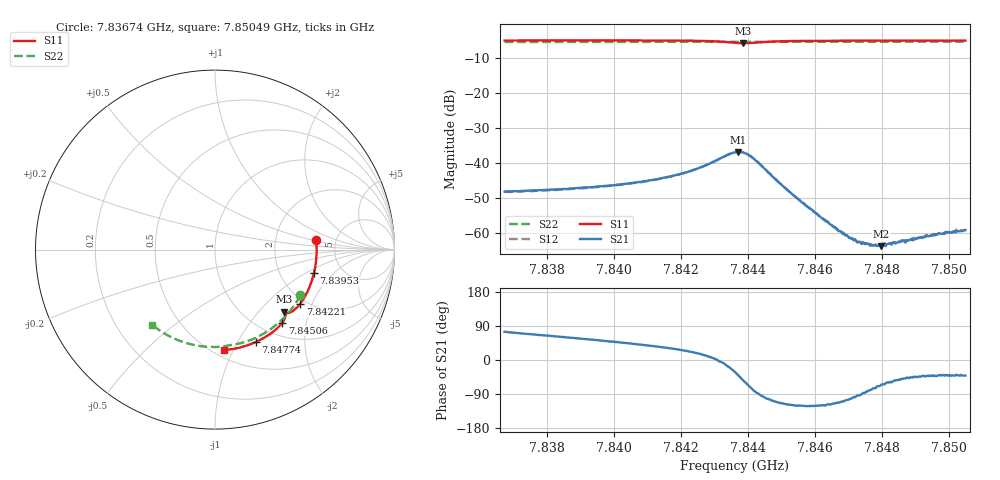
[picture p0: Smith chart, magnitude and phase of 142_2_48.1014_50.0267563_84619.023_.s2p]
#  HZ  S  RI  R  50.00
! Rohde & Schwarz Vector Network Analyzer
! Rohde-Schwarz,ZNB20-2Port,1311601062101988,3.16
! Created: UTC 12/23/2023, 3:48:51 AM
! freq[Hz]  re:S11  im:S11  re:S21  im:S21  re:S12  im:S12  re:S22  im:S22
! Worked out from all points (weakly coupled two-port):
!   401 points, 7.83674 GHz to 7.85049 GHz, reference 50 ohm
!   highest |S21| = -36.80 dB at 7.84372 GHz (marker M1); lowest = -63.7 dB at 7.84798 GHz (marker M2)
!   lowest |S11| = -5.7 dB at 7.84386 GHz (marker M3), VSWR 3.14, Z = 73.6 - j69.4 ohm
!   |S11| at or under -10 dB: nowhere
!   |S22| runs from -5.4 to -5.3 dB; largest |S21 - S12| = 0.00033
!   S11 on the Smith chart (normalised r, x): 7.83674 GHz: 3.52, +0.55; 7.83953 GHz: 3.10, -1.21; 7.84221 GHz: 1.87, -1.65; 7.84506 GHz: 1.25, -1.46; 7.84774 GHz: 0.79, -1.19; 7.85049 GHz: 0.56, -0.92
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7.836742e9  0.5635 0.0528  0.00105 0.00376  0.00109 0.00368  0.4756 -0.2545
7.839046e9  0.5579 -0.1  0.00249 0.00368  0.00246 0.00364  0.3802 -0.3839
7.839527e9  0.5514 -0.1318  0.00285 0.00367  0.00278 0.00358  0.3557 -0.407
7.841349e9  0.5083 -0.248  0.00488 0.00338  0.00485 0.00341  0.2507 -0.4795
7.842209e9  0.476 -0.3004  0.00687 0.00297  0.00682 0.00296  0.1955 -0.5047
7.843102e9  0.4257 -0.3471  0.0112 -0.000174  0.0112 -2.78e-05  0.1355 -0.5231
7.843618e9  0.3901 -0.3516  0.0121 -0.00751  0.0121 -0.00753  0.1011 -0.5296
7.843721e9  0.3863 -0.3487  0.011 -0.00942  0.0109 -0.00938  0.0946 -0.5306
7.843859e9  0.3849 -0.3454  0.00845 -0.0114  0.00835 -0.0114  0.0858 -0.5321
7.844031e9  0.3882 -0.3453  0.00475 -0.012  0.00471 -0.0121  0.075 -0.5342
7.844203e9  0.3923 -0.3515  0.00156 -0.0112  0.00152 -0.0113  0.0637 -0.5363
7.845062e9  0.3749 -0.4071  -0.00196 -0.00421  -0.00194 -0.00423  0.00374 -0.5427
7.845922e9  0.332 -0.451  -0.00109 -0.00183  -0.00109 -0.00181  -0.0568 -0.5405
7.846609e9  0.2935 -0.4792  -0.000496 -0.0011  -0.000462 -0.0011  -0.1048 -0.534
7.846953e9  0.2736 -0.4914  -0.000247 -0.000894  -0.000229 -0.000887  -0.1285 -0.5289
7.847331e9  0.2509 -0.5036  -4.86e-05 -0.000753  -1e-05 -0.000744  -0.1541 -0.5222
7.847744e9  0.2259 -0.5157  0.000176 -0.000645  0.000197 -0.000632  -0.1818 -0.5136
7.847984e9  0.2111 -0.5218  0.000272 -0.00059  0.000265 -0.000628  -0.1977 -0.5078
7.848087e9  0.2045 -0.5245  0.00031 -0.000643  0.00029 -0.000592  -0.2042 -0.5051
7.848225e9  0.196 -0.5278  0.000361 -0.00061  0.000343 -0.000608  -0.2135 -0.5015
7.849703e9  0.1009 -0.5535  0.000769 -0.000634  0.000749 -0.00065  -0.3046 -0.4529
7.850494e9  0.0488 -0.5602  0.000828 -0.000721  0.000878 -0.000722  -0.3492 -0.4201
